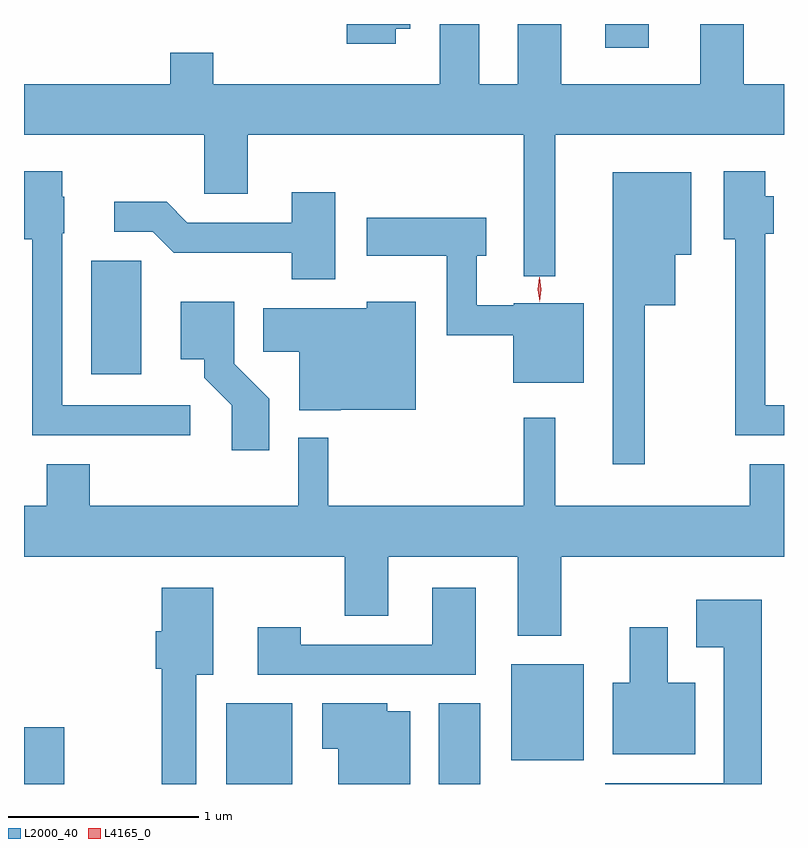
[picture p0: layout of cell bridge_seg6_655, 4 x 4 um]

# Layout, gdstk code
import gdstk
lib = gdstk.Library(unit=1e-6, precision=1e-09)
def R(c, l, rs):  # rectangles x0, y0, x1, y1
    for r in rs: c.add(gdstk.rectangle(r[:2], r[2:], *l))
def P(c, l, *ps):  # polygons
    for p in ps: c.add(gdstk.Polygon(p, *l))
L2000_40 = (2000, 40)
L4165_0 = (4165, 0)

bridge_seg6_655 = lib.new_cell('bridge_seg6_655')
R(bridge_seg6_655, L2000_40, [(207.912,1635.42,208.124,1635.719), (208.976,1635.42,209.324,1635.844), (210.096,1635.42,210.314,1635.844), (210.476,1635.546,210.859,1636.049), (208.266,1637.576,208.529,1638.174), (210.971,1639.296,211.199,1639.42)])
P(bridge_seg6_655, L2000_40, [(210.709,1638.836),(211.912,1638.836),(211.912,1639.104),(211.699,1639.104),(211.699,1639.42),(211.471,1639.42),(211.471,1639.104),(210.739,1639.104),(210.739,1639.42),(210.511,1639.42),(210.511,1639.104),(210.309,1639.104),(210.309,1639.42),(210.101,1639.42),(210.101,1639.104),(208.909,1639.104),(208.909,1639.269),(208.681,1639.269),(208.681,1639.104),(207.912,1639.104),(207.912,1638.836),(208.861,1638.836),(208.861,1638.526),(209.089,1638.526),(209.089,1638.836),(210.541,1638.836),(210.541,1638.093),(210.709,1638.093)],
  [(209.869,1639.396),(209.944,1639.396),(209.944,1639.42),(209.611,1639.42),(209.611,1639.316),(209.869,1639.316)],
  [(211.912,1637.414),(211.814,1637.414),(211.814,1638.316),(211.859,1638.316),(211.859,1638.514),(211.814,1638.514),(211.814,1638.644),(211.596,1638.644),(211.596,1638.286),(211.656,1638.286),(211.656,1637.256),(211.912,1637.256)],
  [(208.788,1637.414),(208.114,1637.414),(208.114,1638.32),(208.124,1638.32),(208.124,1638.51),(208.114,1638.51),(208.114,1638.644),(207.912,1638.644),(207.912,1638.286),(207.956,1638.286),(207.956,1637.256),(208.788,1637.256)],
  [(211.179,1637.941),(211.339,1637.941),(211.339,1638.206),(211.424,1638.206),(211.424,1638.639),(211.011,1638.639),(211.011,1637.103),(211.179,1637.103)],
  [(209.549,1638.534),(209.321,1638.534),(209.321,1638.374),(208.772,1638.374),(208.662,1638.484),(208.388,1638.484),(208.388,1638.326),(208.589,1638.326),(208.699,1638.216),(209.321,1638.216),(209.321,1638.076),(209.549,1638.076)],
  [(210.859,1637.949),(210.49,1637.949),(210.49,1637.939),(210.294,1637.939),(210.294,1638.201),(210.344,1638.201),(210.344,1638.399),(209.716,1638.399),(209.716,1638.201),(210.136,1638.201),(210.136,1637.781),(210.486,1637.781),(210.486,1637.531),(210.859,1637.531)],
  [(209.204,1637.447),(209.019,1637.632),(209.019,1637.959),(208.736,1637.959),(208.736,1637.656),(208.861,1637.656),(208.861,1637.559),(209.006,1637.414),(209.006,1637.176),(209.204,1637.176)],
  [(209.58,1637.391),(209.974,1637.391),(209.974,1637.959),(209.716,1637.959),(209.716,1637.924),(209.171,1637.924),(209.171,1637.696),(209.361,1637.696),(209.361,1637.386),(209.58,1637.386)],
  [(210.739,1636.616),(211.912,1636.616),(211.912,1637.104),(211.731,1637.104),(211.731,1636.884),(210.709,1636.884),(210.709,1637.348),(210.541,1637.348),(210.541,1636.884),(209.514,1636.884),(209.514,1637.243),(209.356,1637.243),(209.356,1636.884),(208.259,1636.884),(208.259,1637.104),(208.031,1637.104),(208.031,1636.884),(207.912,1636.884),(207.912,1636.616),(209.601,1636.616),(209.601,1636.306),(209.829,1636.306),(209.829,1636.616),(210.511,1636.616),(210.511,1636.201),(210.739,1636.201)],
  [(208.819,1635.996),(208.909,1635.996),(208.909,1636.454),(208.636,1636.454),(208.636,1636.224),(208.606,1636.224),(208.606,1636.026),(208.636,1636.026),(208.636,1635.42),(208.819,1635.42)],
  [(210.289,1636.454),(210.061,1636.454),(210.061,1636.154),(209.369,1636.154),(209.369,1636.244),(209.141,1636.244),(209.141,1635.996),(210.289,1635.996)],
  [(211.794,1636.389),(211.451,1636.389),(211.451,1636.141),(211.596,1636.141),(211.596,1635.424),(210.971,1635.424),(210.971,1635.42),(211.794,1635.42)],
  [(211.444,1635.954),(211.299,1635.954),(211.299,1636.244),(211.101,1636.244),(211.101,1635.954),(211.011,1635.954),(211.011,1635.576),(211.444,1635.576)],
  [(209.944,1635.804),(209.824,1635.804),(209.824,1635.844),(209.481,1635.844),(209.481,1635.606),(209.566,1635.606),(209.566,1635.42),(209.944,1635.42)])
P(bridge_seg6_655, L4165_0, [(210.626,1637.959),(210.626,1637.959),(210.616,1638.023),(210.625,1638.087),(210.625,1638.088),(210.626,1638.087),(210.635,1638.023),(210.626,1637.959)])

lib.write_gds('bridge_seg6_655.gds')
